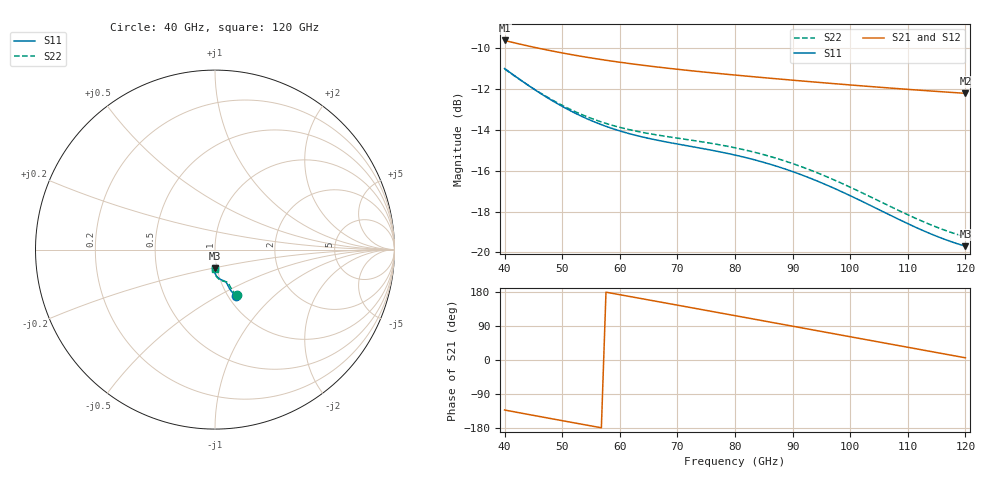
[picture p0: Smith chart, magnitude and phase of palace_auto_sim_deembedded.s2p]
! Created with skrf 1.11.0 (http://scikit-rf.org).
# GHz S DB R 50.0
!freq dBS11 angS11 dBS21 angS21 dBS12 angS12 dBS22 angS22
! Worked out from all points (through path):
!   101 points, 40 GHz to 120 GHz, reference 50 ohm
!   highest |S21| = -9.63 dB at 40 GHz (marker M1); lowest = -12.2 dB at 120 GHz (marker M2)
!   group delay of S21, straight-line fit = 7.71 ps
!   lowest |S11| = -19.7 dB at 120 GHz (marker M3), VSWR 1.23, Z = 49.1 - j10.3 ohm
!   |S11| at or under -10 dB: start of sweep to end of sweep
!   |S22| runs from -19.2 to -11.0 dB; largest |S21 - S12| = 4.3e-15
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40  -11.01 -65.9  -9.63 -132.0  -9.63 -132.0  -11.03 -64.4
43.2  -11.65 -67.6  -9.85 -141.1  -9.85 -141.1  -11.66 -65.9
46.4  -12.25 -68.8  -10.04 -150.0  -10.04 -150.0  -12.24 -66.9
49.6  -12.79 -69.6  -10.22 -158.9  -10.22 -158.9  -12.75 -67.5
53.6  -13.37 -70.2  -10.42 -170.0  -10.42 -170.0  -13.28 -67.9
56.8  -13.75 -70.4  -10.57 -178.8  -10.57 -178.8  -13.62 -68.1
60  -14.06 -70.7  -10.70 172.3  -10.70 172.3  -13.88 -68.4
63.2  -14.30 -71.2  -10.82 163.5  -10.82 163.5  -14.09 -68.9
67.2  -14.55 -72.1  -10.95 152.5  -10.95 152.5  -14.29 -69.8
73.6  -14.88 -74.4  -11.15 134.8  -11.15 134.8  -14.56 -72.4
76.8  -15.05 -75.9  -11.24 125.9  -11.24 125.9  -14.71 -74.1
80  -15.24 -77.6  -11.33 117.0  -11.33 117.0  -14.88 -76.0
83.2  -15.46 -79.5  -11.41 108.1  -11.41 108.1  -15.09 -78.1
86.4  -15.71 -81.5  -11.49 99.2  -11.49 99.2  -15.33 -80.2
89.6  -16.01 -83.4  -11.57 90.3  -11.57 90.3  -15.61 -82.4
93.6  -16.43 -85.8  -11.66 79.2  -11.66 79.2  -16.03 -84.9
96.8  -16.81 -87.4  -11.74 70.3  -11.74 70.3  -16.40 -86.7
100  -17.22 -88.8  -11.81 61.4  -11.81 61.4  -16.81 -88.2
107.2  -18.21 -90.6  -11.97 41.4  -11.97 41.4  -17.78 -90.4
113.6  -19.04 -90.5  -12.10 23.6  -12.10 23.6  -18.60 -90.7
116.8  -19.40 -89.9  -12.16 14.7  -12.16 14.7  -18.95 -90.3
120  -19.69 -89.1  -12.22 5.8  -12.22 5.8  -19.23 -89.7
